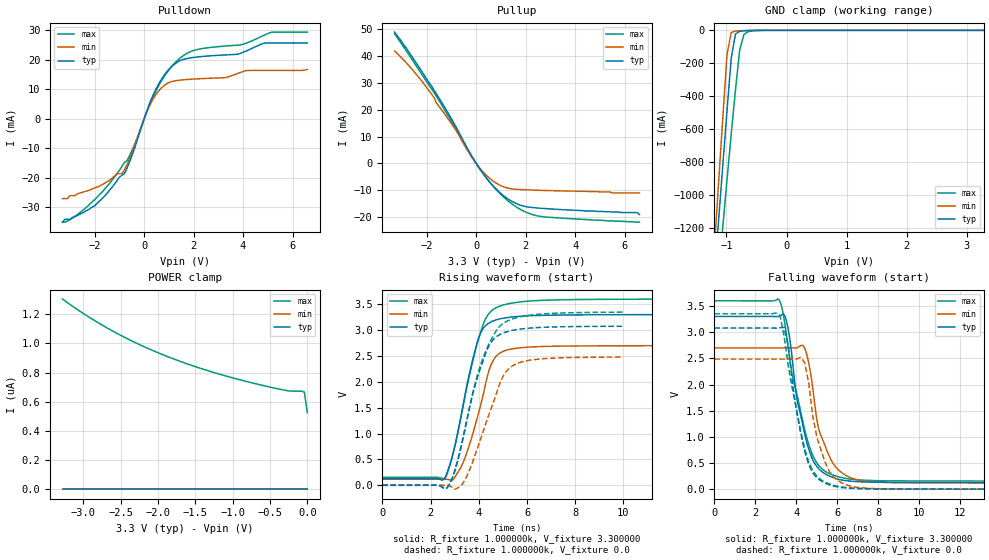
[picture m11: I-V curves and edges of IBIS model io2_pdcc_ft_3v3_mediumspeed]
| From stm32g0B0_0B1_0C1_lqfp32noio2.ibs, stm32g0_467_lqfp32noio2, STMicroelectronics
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|   Model io2_pdcc_ft_3v3_mediumspeed
[Model]  io2_pdcc_ft_3v3_mediumspeed
Model_type I/O
Polarity   Non-Inverting
Enable   Active-Low
Vinl =   0.990000V
Vinh =   2.310000V
Vmeas =  1.650000V
Cref =   40.000000pF
Rref =   100.000000M
Vref =   0.0V
C_comp   4.843300pF   4.282700pF   5.299100pF
[Temperature Range]   25.000000   -40.000000   0.125000k
[Pullup Reference]   3.300000V   2.700000V   3.600000V
[Pulldown Reference]   0.0V   0.0V   0.0V
[POWER Clamp Reference]   3.300000V   2.700000V   3.600000V
[GND Clamp Reference]   0.0V   0.0V   0.0V
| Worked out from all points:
|   slope of the pulldown table from 0 to 0.495 V, typ, clamps not added: 47.5 ohm
|   slope of the pullup table from 0 to 0.495 V, typ, clamps not added: 77.3 ohm
|   GND clamp passes 1 mA (typ) near -0.58 V on its own axis
|   rising waveform, R_fixture 1.000000k, V_fixture 3.300000: 20-80 % time 874ps typ, 892ps min, 997ps max; typ from 0.128 V to 3.3 V
|   rising waveform, R_fixture 1.000000k, V_fixture 0.0: 20-80 % time 1.03ns typ, 1.11ns min, 1.14ns max; typ from 0 V to 3.07 V
|   falling waveform, R_fixture 1.000000k, V_fixture 3.300000: 20-80 % time 859ps typ, 894ps min, 1.08ns max; typ from 3.3 V to 0.128 V
|   falling waveform, R_fixture 1.000000k, V_fixture 0.0: 20-80 % time 807ps typ, 805ps min, 998ps max; typ from 3.08 V to 0 V
[Pulldown]
|Voltage   I(typ)   I(min)   I(max)
-3.3V     -35mA      -27mA      -35mA
-2V       -29.4mA    -23.4mA    -27.4mA
-800mV    -18.58mA   -17.27mA   -14.77mA
-400mV    -10.26mA   -9.232mA   -8.958mA
100mV     2.513mA    2.208mA    2.267mA
400mV     8.782mA    7.287mA    8.184mA
800mV     14.68mA    11.26mA    14.27mA
1.3V      19.02mA    12.98mA    19.48mA
2V        20.86mA    13.52mA    23.19mA
3.9V      22.24mA    15.76mA    25.13mA
5.2V      25.78mA    16.44mA    29.44mA
6.6V      25.78mA    16.8mA     29.44mA
[Pullup]
|Voltage   I(typ)   I(min)   I(max)
-3.3V     48.98mA    41.91mA    48.31mA
-2.6V     39.91mA    35.19mA    38.84mA
-1.9V     30.08mA    27.03mA    29mA
-1.6V     25.82mA    22.46mA    24.9mA
-1.1V     18.19mA    16.17mA    17.21mA
100mV     -1.429mA   -1.206mA   -1.392mA
600mV     -7.545mA   -5.957mA   -7.567mA
1.2V      -12.7mA    -9.001mA   -13.28mA
1.8V      -15.6mA    -9.729mA   -17.2mA
2.5V      -16.63mA   -9.994mA   -19.58mA
6.5V      -18.3mA    -11mA      -21.9mA
6.6V      -19mA      -11mA      -21.9mA
[GND_clamp]
|Voltage   I(typ)   I(min)   I(max)
-3.3V     -9.767A    -9.748A    -9.881A
-1.2V     -1.489A    -1.316A    -1.768A
-1.13V    -1.15A     -919.7mA   -1.477A
-1.06V    -814.4mA   -527.2mA   -1.189A
-990mV    -484.1mA   -143.5mA   -905.3mA
-920mV    -166.2mA   -12.77mA   -627.6mA
-850mV    -21.87mA   -4.511mA   -362mA
-780mV    -5.991mA   -2.83mA    -119.7mA
-710mV    -3.238mA   -1.563mA   -25.44mA
-640mV    -1.838mA   -627.8uA   -8.016mA
-290mV    -1.61uA    0A         -104.4uA
3.28V     0A         0A         431.1nA
[POWER_clamp]
|Voltage   I(typ)   I(min)   I(max)
-3.28V    0A         0A         1.304uA
-2.96V    0A         0A         1.191uA
-2.6V     0A         0A         1.083uA
-2.24V    0A         0A         989.7nA
-1.84V    0A         0A         902.9nA
-1.4V     0A         0A         823.6nA
-880mV    0A         0A         747.1nA
-320mV    0A         0A         680.5nA
-240mV    0A         0A         673.6nA
-80mV     0A         0A         672.6nA
-40mV     0A         0A         665.5nA
0V        0A         0A         524.5nA
[Ramp]
| variable   typ   min   max
dV/dt_r  1.96650/1.13813n   1.60704/1.18468n   2.14475/1.25257n
dV/dt_f  1.97245/1.31685n   1.61310/1.32520n   2.15078/1.32548n
R_load = 10.000000k
[Rising Waveform]
R_fixture= 1.000000k
V_fixture= 3.300000
V_fixture_min= 2.700000
V_fixture_max= 3.600000
|time   V(typ)   V(min)   V(max)
0s        127.8mV    118.3mV    154.8mV
2.613ns   154mV      118.6mV    149.2mV
2.943ns   634.3mV    111.9mV    634.4mV
3.273ns   1.353V     362.4mV    1.359V
3.604ns   2.11V      767.6mV    2.143V
3.964ns   2.807V     1.35V      2.785V
4.264ns   3.077V     1.92V      3.201V
4.655ns   3.185V     2.452V     3.415V
6.246ns   3.278V     2.675V     3.564V
14.95ns   3.298V     2.698V     3.598V
[Rising Waveform]
R_fixture= 1.000000k
V_fixture= 0.0
V_fixture_min= 0.0
V_fixture_max= 0.0
|time   V(typ)   V(min)   V(max)
0s        35.26nV    22.58nV    11.62uV
2.723ns   -21.66mV   -3.899mV   -29.15mV
3.063ns   385.8mV    -65.05mV   359.4mV
3.483ns   1.221V     156.6mV    1.202V
3.964ns   2.114V     742.1mV    2.163V
4.324ns   2.597V     1.237V     2.63V
4.965ns   2.932V     2.068V     3.112V
5.405ns   2.994V     2.312V     3.216V
6.166ns   3.04V      2.422V     3.288V
9.97ns    3.073V     2.478V     3.345V
[Falling Waveform]
R_fixture= 1.000000k
V_fixture= 3.300000
V_fixture_min= 2.700000
V_fixture_max= 3.600000
|time   V(typ)   V(min)   V(max)
0s        3.3V       2.7V       3.6V
3.123ns   3.298V     2.7V       3.63V
3.393ns   3.335V     2.7V       3.272V
3.784ns   2.553V     2.7V       2.221V
4.024ns   1.743V     2.7V       1.818V
4.414ns   1.044V     2.687V     1.127V
5.045ns   412.7mV    1.236V     477mV
5.405ns   292.7mV    827.2mV    341.8mV
7.177ns   139.9mV    163.9mV    174.4mV
14.95ns   128.3mV    118.8mV    155.5mV
[Falling Waveform]
R_fixture= 1.000000k
V_fixture= 0.0
V_fixture_min= 0.0
V_fixture_max= 0.0
|time   V(typ)   V(min)   V(max)
0s        3.078V     2.485V     3.352V
3.003ns   3.077V     2.485V     3.364V
3.203ns   3.084V     2.485V     3.316V
3.403ns   3.091V     2.485V     2.922V
4.204ns   1.091V     2.518V     1.118V
4.605ns   472.2mV    2.03V      520.5mV
5.005ns   215.8mV    989.6mV    245.2mV
5.405ns   114.1mV    511.4mV    134.1mV
6.607ns   17.73mV    63.73mV    26.08mV
99.7ns    6.467uV    6.352uV    20.66uV
